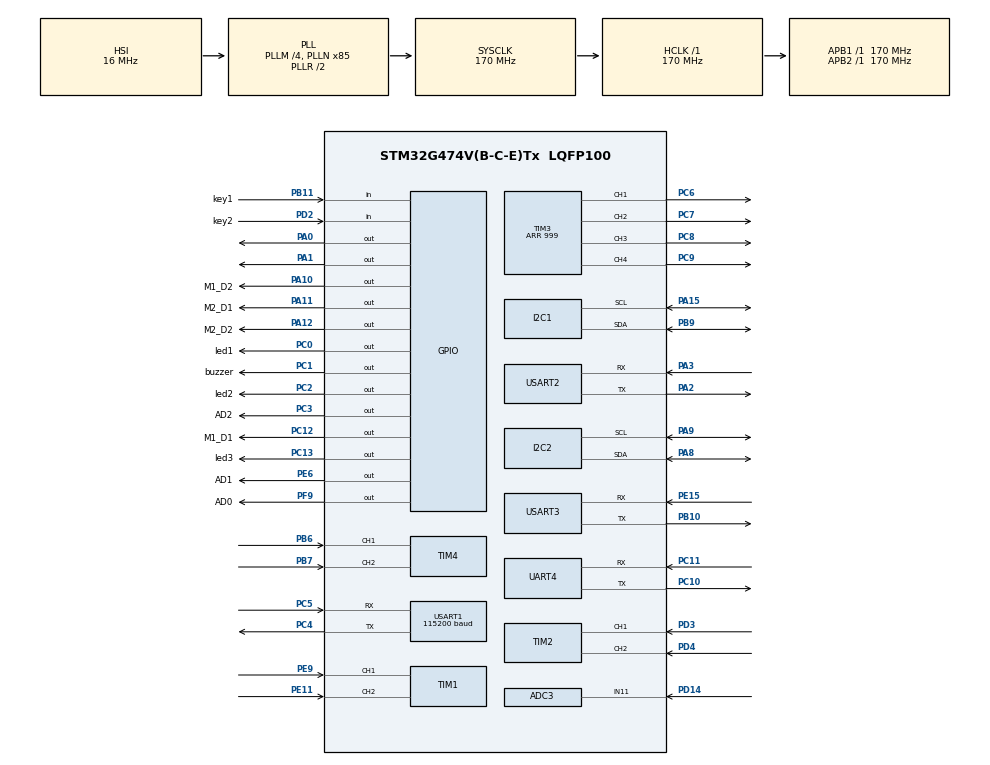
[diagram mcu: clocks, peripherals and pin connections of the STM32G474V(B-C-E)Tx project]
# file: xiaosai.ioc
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ADC3.Channel-1\#ChannelRegularConversion=ADC_CHANNEL_11
ADC3.NbrOfConversionFlag=1
ADC3.OffsetNumber-1\#ChannelRegularConversion=ADC_OFFSET_NONE
ADC3.Rank-1\#ChannelRegularConversion=1
ADC3.Resolution=ADC_RESOLUTION_8B
ADC3.SamplingTime-1\#ChannelRegularConversion=ADC_SAMPLETIME_2CYCLES_5
ADC3.master=1
Dma.Request0=USART1_RX
Dma.Request1=USART1_TX
Dma.Request2=USART3_RX
Dma.Request3=USART3_TX
Dma.Request4=UART4_RX
Dma.Request5=UART4_TX
Dma.Request6=USART2_RX
Dma.Request7=USART2_TX
Dma.UART4_RX.4.Direction=DMA_PERIPH_TO_MEMORY
Dma.UART4_RX.4.EventEnable=DISABLE
Dma.UART4_RX.4.Instance=DMA1_Channel7
Dma.UART4_RX.4.MemDataAlignment=DMA_MDATAALIGN_BYTE
Dma.UART4_RX.4.MemInc=DMA_MINC_ENABLE
Dma.UART4_RX.4.Mode=DMA_NORMAL
Dma.UART4_RX.4.PeriphDataAlignment=DMA_PDATAALIGN_BYTE
Dma.UART4_RX.4.PeriphInc=DMA_PINC_DISABLE
Dma.UART4_RX.4.Polarity=HAL_DMAMUX_REQ_GEN_RISING
Dma.UART4_RX.4.Priority=DMA_PRIORITY_LOW
Dma.UART4_RX.4.RequestNumber=1
Dma.UART4_RX.4.SignalID=NONE
Dma.UART4_RX.4.SyncEnable=DISABLE
Dma.UART4_RX.4.SyncPolarity=HAL_DMAMUX_SYNC_NO_EVENT
Dma.UART4_RX.4.SyncRequestNumber=1
Dma.UART4_RX.4.SyncSignalID=NONE
Dma.UART4_TX.5.Direction=DMA_MEMORY_TO_PERIPH
Dma.UART4_TX.5.EventEnable=DISABLE
Dma.UART4_TX.5.Instance=DMA1_Channel8
Dma.UART4_TX.5.MemDataAlignment=DMA_MDATAALIGN_BYTE
Dma.UART4_TX.5.MemInc=DMA_MINC_ENABLE
Dma.UART4_TX.5.Mode=DMA_NORMAL
Dma.UART4_TX.5.PeriphDataAlignment=DMA_PDATAALIGN_BYTE
Dma.UART4_TX.5.PeriphInc=DMA_PINC_DISABLE
Dma.UART4_TX.5.Polarity=HAL_DMAMUX_REQ_GEN_RISING
Dma.UART4_TX.5.Priority=DMA_PRIORITY_LOW
Dma.UART4_TX.5.RequestNumber=1
Dma.UART4_TX.5.SignalID=NONE
Dma.UART4_TX.5.SyncEnable=DISABLE
Dma.UART4_TX.5.SyncPolarity=HAL_DMAMUX_SYNC_NO_EVENT
Dma.UART4_TX.5.SyncRequestNumber=1
Dma.UART4_TX.5.SyncSignalID=NONE
Dma.USART1_RX.0.Direction=DMA_PERIPH_TO_MEMORY
Dma.USART1_RX.0.EventEnable=DISABLE
Dma.USART1_RX.0.Instance=DMA1_Channel1
Dma.USART1_RX.0.MemDataAlignment=DMA_MDATAALIGN_BYTE
Dma.USART1_RX.0.MemInc=DMA_MINC_ENABLE
Dma.USART1_RX.0.Mode=DMA_NORMAL
Dma.USART1_RX.0.PeriphDataAlignment=DMA_PDATAALIGN_BYTE
Dma.USART1_RX.0.PeriphInc=DMA_PINC_DISABLE
Dma.USART1_RX.0.Polarity=HAL_DMAMUX_REQ_GEN_RISING
Dma.USART1_RX.0.Priority=DMA_PRIORITY_LOW
Dma.USART1_RX.0.RequestNumber=1
Dma.USART1_RX.0.SignalID=NONE
Dma.USART1_RX.0.SyncEnable=DISABLE
Dma.USART1_RX.0.SyncPolarity=HAL_DMAMUX_SYNC_NO_EVENT
Dma.USART1_RX.0.SyncRequestNumber=1
Dma.USART1_RX.0.SyncSignalID=NONE
Dma.USART1_TX.1.Direction=DMA_MEMORY_TO_PERIPH
Dma.USART1_TX.1.EventEnable=DISABLE
Dma.USART1_TX.1.Instance=DMA1_Channel2
Dma.USART1_TX.1.MemDataAlignment=DMA_MDATAALIGN_BYTE
Dma.USART1_TX.1.MemInc=DMA_MINC_ENABLE
Dma.USART1_TX.1.Mode=DMA_NORMAL
Dma.USART1_TX.1.PeriphDataAlignment=DMA_PDATAALIGN_BYTE
Dma.USART1_TX.1.PeriphInc=DMA_PINC_DISABLE
Dma.USART1_TX.1.Polarity=HAL_DMAMUX_REQ_GEN_RISING
Dma.USART1_TX.1.Priority=DMA_PRIORITY_LOW
Dma.USART1_TX.1.RequestNumber=1
Dma.USART1_TX.1.SignalID=NONE
Dma.USART1_TX.1.SyncEnable=DISABLE
Dma.USART1_TX.1.SyncPolarity=HAL_DMAMUX_SYNC_NO_EVENT
Dma.USART1_TX.1.SyncRequestNumber=1
Dma.USART1_TX.1.SyncSignalID=NONE
Dma.USART2_RX.6.Direction=DMA_PERIPH_TO_MEMORY
Dma.USART2_RX.6.EventEnable=DISABLE
Dma.USART2_RX.6.Instance=DMA1_Channel3
Dma.USART2_RX.6.MemDataAlignment=DMA_MDATAALIGN_BYTE
Dma.USART2_RX.6.MemInc=DMA_MINC_ENABLE
Dma.USART2_RX.6.Mode=DMA_NORMAL
Dma.USART2_RX.6.PeriphDataAlignment=DMA_PDATAALIGN_BYTE
Dma.USART2_RX.6.PeriphInc=DMA_PINC_DISABLE
Dma.USART2_RX.6.Polarity=HAL_DMAMUX_REQ_GEN_RISING
Dma.USART2_RX.6.Priority=DMA_PRIORITY_LOW
Dma.USART2_RX.6.RequestNumber=1
Dma.USART2_RX.6.SignalID=NONE
Dma.USART2_RX.6.SyncEnable=DISABLE
Dma.USART2_RX.6.SyncPolarity=HAL_DMAMUX_SYNC_NO_EVENT
Dma.USART2_RX.6.SyncRequestNumber=1
Dma.USART2_RX.6.SyncSignalID=NONE
Dma.USART2_TX.7.Direction=DMA_MEMORY_TO_PERIPH
Dma.USART2_TX.7.EventEnable=DISABLE
Dma.USART2_TX.7.Instance=DMA1_Channel4
Dma.USART2_TX.7.MemDataAlignment=DMA_MDATAALIGN_BYTE
Dma.USART2_TX.7.MemInc=DMA_MINC_ENABLE
Dma.USART2_TX.7.Mode=DMA_NORMAL
Dma.USART2_TX.7.PeriphDataAlignment=DMA_PDATAALIGN_BYTE
Dma.USART2_TX.7.PeriphInc=DMA_PINC_DISABLE
Dma.USART2_TX.7.Polarity=HAL_DMAMUX_REQ_GEN_RISING
Dma.USART2_TX.7.Priority=DMA_PRIORITY_LOW
Dma.USART2_TX.7.RequestNumber=1
Dma.USART2_TX.7.SignalID=NONE
Dma.USART2_TX.7.SyncEnable=DISABLE
Dma.USART2_TX.7.SyncPolarity=HAL_DMAMUX_SYNC_NO_EVENT
Dma.USART2_TX.7.SyncRequestNumber=1
Dma.USART2_TX.7.SyncSignalID=NONE
Dma.USART3_RX.2.Direction=DMA_PERIPH_TO_MEMORY
Dma.USART3_RX.2.EventEnable=DISABLE
Dma.USART3_RX.2.Instance=DMA1_Channel5
Dma.USART3_RX.2.MemDataAlignment=DMA_MDATAALIGN_BYTE
Dma.USART3_RX.2.MemInc=DMA_MINC_ENABLE
Dma.USART3_RX.2.Mode=DMA_NORMAL
Dma.USART3_RX.2.PeriphDataAlignment=DMA_PDATAALIGN_BYTE
Dma.USART3_RX.2.PeriphInc=DMA_PINC_DISABLE
Dma.USART3_RX.2.Polarity=HAL_DMAMUX_REQ_GEN_RISING
Dma.USART3_RX.2.Priority=DMA_PRIORITY_LOW
Dma.USART3_RX.2.RequestNumber=1
Dma.USART3_RX.2.SignalID=NONE
Dma.USART3_RX.2.SyncEnable=DISABLE
Dma.USART3_RX.2.SyncPolarity=HAL_DMAMUX_SYNC_NO_EVENT
Dma.USART3_RX.2.SyncRequestNumber=1
Dma.USART3_RX.2.SyncSignalID=NONE
Dma.USART3_TX.3.Direction=DMA_MEMORY_TO_PERIPH
Dma.USART3_TX.3.EventEnable=DISABLE
Dma.USART3_TX.3.Instance=DMA1_Channel6
Dma.USART3_TX.3.MemDataAlignment=DMA_MDATAALIGN_BYTE
Dma.USART3_TX.3.MemInc=DMA_MINC_ENABLE
Dma.USART3_TX.3.Mode=DMA_NORMAL
Dma.USART3_TX.3.PeriphDataAlignment=DMA_PDATAALIGN_BYTE
Dma.USART3_TX.3.PeriphInc=DMA_PINC_DISABLE
Dma.USART3_TX.3.Polarity=HAL_DMAMUX_REQ_GEN_RISING
Dma.USART3_TX.3.Priority=DMA_PRIORITY_LOW
Dma.USART3_TX.3.RequestNumber=1
Dma.USART3_TX.3.SignalID=NONE
Dma.USART3_TX.3.SyncEnable=DISABLE
Dma.USART3_TX.3.SyncPolarity=HAL_DMAMUX_SYNC_NO_EVENT
Dma.USART3_TX.3.SyncRequestNumber=1
Dma.USART3_TX.3.SyncSignalID=NONE
I2C1.Timing=0x40B285C2
I2C2.Timing=0x40B285C2
Mcu.Family=STM32G4
Mcu.Name=STM32G474V(B-C-E)Tx
Mcu.Package=LQFP100
NVIC.DMA1_Channel1_IRQn=true\:0\:0\:false\:false\:true\:false\:true\:true
NVIC.DMA1_Channel2_IRQn=true\:0\:0\:false\:false\:true\:false\:true\:true
NVIC.DMA1_Channel3_IRQn=true\:0\:0\:false\:false\:true\:false\:true\:true
NVIC.DMA1_Channel4_IRQn=true\:0\:0\:false\:false\:true\:false\:true\:true
NVIC.DMA1_Channel5_IRQn=true\:0\:0\:false\:false\:true\:false\:true\:true
NVIC.DMA1_Channel6_IRQn=true\:0\:0\:false\:false\:true\:false\:true\:true
NVIC.DMA1_Channel7_IRQn=true\:0\:0\:false\:false\:true\:false\:true\:true
NVIC.DMA1_Channel8_IRQn=true\:0\:0\:false\:false\:true\:false\:true\:true
NVIC.PriorityGroup=NVIC_PRIORITYGROUP_4
NVIC.TIM7_DAC_IRQn=true\:0\:0\:true\:false\:true\:true\:true\:true
NVIC.USART1_IRQn=true\:0\:0\:false\:false\:true\:true\:true\:true
NVIC.USART3_IRQn=true\:0\:0\:false\:false\:true\:true\:true\:true
PA0.Signal=GPIO_Output
PA1.Signal=GPIO_Output
PA10.GPIO_Label=M1_D2
PA10.Signal=GPIO_Output
PA11.GPIO_Label=M2_D1
PA11.Signal=GPIO_Output
PA12.GPIO_Label=M2_D2
PA12.Signal=GPIO_Output
PA13.Mode=Serial_Wire
PA13.Signal=SYS_JTMS-SWDIO
PA14.Mode=Serial_Wire
PA14.Signal=SYS_JTCK-SWCLK
PA15.Mode=I2C
PA15.Signal=I2C1_SCL
PA2.Mode=Asynchronous
PA2.Signal=USART2_TX
PA3.Mode=Asynchronous
PA3.Signal=USART2_RX
PA8.Mode=I2C
PA8.Signal=I2C2_SDA
PA9.Mode=I2C
PA9.Signal=I2C2_SCL
PB10.Mode=Asynchronous
PB10.Signal=USART3_TX
PB11.GPIO_Label=key1
PB11.GPIO_PuPd=GPIO_PULLUP
PB11.Signal=GPIO_Input
PB6.Signal=S_TIM4_CH1
PB7.Signal=S_TIM4_CH2
PB9.Mode=I2C
PB9.Signal=I2C1_SDA
PC0.GPIO_Label=led1
PC0.Signal=GPIO_Output
PC1.GPIO_Label=buzzer
PC1.Signal=GPIO_Output
PC10.Mode=Asynchronous
PC10.Signal=UART4_TX
PC11.Mode=Asynchronous
PC11.Signal=UART4_RX
PC12.GPIO_Label=M1_D1
PC12.Signal=GPIO_Output
PC13.GPIO_Label=led3
PC13.Signal=GPIO_Output
PC2.GPIO_Label=led2
PC2.Signal=GPIO_Output
PC3.GPIO_Label=AD2
PC3.Signal=GPIO_Output
PC4.Mode=Asynchronous
PC4.Signal=USART1_TX
PC5.Mode=Asynchronous
PC5.Signal=USART1_RX
PC6.Signal=S_TIM3_CH1
PC7.Signal=S_TIM3_CH2
PC8.Signal=S_TIM3_CH3
PC9.Signal=S_TIM3_CH4
PD14.Mode=IN11-Single-Ended
PD14.Signal=ADC3_IN11
PD2.GPIO_Label=key2
PD2.GPIO_PuPd=GPIO_PULLUP
PD2.Signal=GPIO_Input
PD3.Signal=S_TIM2_CH1
PD4.Signal=S_TIM2_CH2
PE11.Signal=S_TIM1_CH2
PE15.Mode=Asynchronous
PE15.Signal=USART3_RX
PE6.GPIO_Label=AD1
PE6.Signal=GPIO_Output
PE9.Signal=S_TIM1_CH1
PF0-OSC_IN.Mode=HSE-External-Oscillator
PF0-OSC_IN.Signal=RCC_OSC_IN
PF1-OSC_OUT.Mode=HSE-External-Oscillator
PF1-OSC_OUT.Signal=RCC_OSC_OUT
PF9.GPIO_Label=AD0
PF9.Signal=GPIO_Output
ProjectManager.HeapSize=0x200
ProjectManager.StackSize=0x400
ProjectManager.TargetToolchain=CMake
RCC.ADC12Freq_Value=170000000
RCC.ADC345Freq_Value=170000000
RCC.AHBFreq_Value=170000000
RCC.APB1Freq_Value=170000000
RCC.APB1TimFreq_Value=170000000
RCC.APB2Freq_Value=170000000
RCC.APB2TimFreq_Value=170000000
RCC.CortexFreq_Value=170000000
RCC.EXTERNAL_CLOCK_VALUE=12288000
RCC.HCLKFreq_Value=170000000
RCC.HSE_VALUE=8000000
RCC.HSI48_VALUE=48000000
RCC.HSI_VALUE=16000000
RCC.LSE_VALUE=32768
RCC.PLLM=RCC_PLLM_DIV4
RCC.PLLN=85
RCC.SYSCLKFreq_VALUE=170000000
RCC.SYSCLKSource=RCC_SYSCLKSOURCE_PLLCLK
RCC.USBFreq_Value=170000000
RCC.VCOOutputFreq_Value=340000000
SH.S_TIM1_CH1.0=TIM1_CH1,Encoder_Interface
SH.S_TIM1_CH2.0=TIM1_CH2,Encoder_Interface
SH.S_TIM2_CH1.0=TIM2_CH1,Encoder_Interface
SH.S_TIM2_CH2.0=TIM2_CH2,Encoder_Interface
SH.S_TIM3_CH1.0=TIM3_CH1,PWM Generation1 CH1
SH.S_TIM3_CH2.0=TIM3_CH2,PWM Generation2 CH2
SH.S_TIM3_CH3.0=TIM3_CH3,PWM Generation3 CH3
SH.S_TIM3_CH4.0=TIM3_CH4,PWM Generation4 CH4
SH.S_TIM4_CH1.0=TIM4_CH1,Encoder_Interface
SH.S_TIM4_CH2.0=TIM4_CH2,Encoder_Interface
TIM3.AutoReloadPreload=TIM_AUTORELOAD_PRELOAD_ENABLE
TIM3.Channel-PWM\ Generation1\ CH1=TIM_CHANNEL_1
TIM3.Channel-PWM\ Generation2\ CH2=TIM_CHANNEL_2
TIM3.Channel-PWM\ Generation3\ CH3=TIM_CHANNEL_3
TIM3.Channel-PWM\ Generation4\ CH4=TIM_CHANNEL_4
TIM3.PeriodNoDither=999
TIM7.AutoReloadPreload=TIM_AUTORELOAD_PRELOAD_ENABLE
TIM7.PeriodNoDither=1000-1
TIM7.Prescaler=170-1
USART1.BaudRate=115200
USART1.VirtualMode-Asynchronous=VM_ASYNC
USART2.VirtualMode-Asynchronous=VM_ASYNC
USART3.VirtualMode-Asynchronous=VM_ASYNC
VP_SYS_VS_DBSignals.Mode=DisableDeadBatterySignals
VP_TIM3_VS_ClockSourceINT.Mode=Internal
VP_TIM7_VS_ClockSourceINT.Mode=Enable_Timer
board=custom

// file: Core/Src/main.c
/* USER CODE BEGIN Header */
/**
  ******************************************************************************
  * @file           : main.c
  * @brief          : Main program body
  ******************************************************************************
  * @attention
  *
  * Copyright (c) 2026 STMicroelectronics.
  * All rights reserved.
  *
  * This software is licensed under terms that can be found in the LICENSE file
  * in the root directory of this software component.
  * If no LICENSE file comes with this software, it is provided AS-IS.
  *
  ******************************************************************************
  */
/* USER CODE END Header */
#include "main.h"
#include "adc.h"
#include "dma.h"
#include "i2c.h"
#include "tim.h"
#include "usart.h"
#include "gpio.h"

/* USER CODE BEGIN Includes */
#include <stdio.h>

#include "status.h"
#include "pid.h"
#include "log.h"
#include "uart_it.h"
/* USER CODE END Includes */

void SystemClock_Config(void);

int main(void)
{

  /* MCU Configuration--------------------------------------------------------*/

  /* Reset of all peripherals, Initializes the Flash interface and the Systick. */
  HAL_Init();

  /* Configure the system clock */
  SystemClock_Config();

  /* Initialize all configured peripherals */
  MX_GPIO_Init();
  MX_DMA_Init();
  MX_ADC3_Init();
  MX_I2C1_Init();
  MX_I2C2_Init();
  MX_TIM1_Init();
  MX_TIM2_Init();
  MX_TIM3_Init();
  MX_UART4_Init();
  MX_USART1_UART_Init();
  MX_USART2_UART_Init();
  MX_USART3_UART_Init();
  MX_TIM7_Init();
  MX_TIM4_Init();
  /* USER CODE BEGIN 2 */
  init_status(&status,1);
  set_pid(&status.sensor.gw_analogue.gw_analogue_pid, 0.05,0,1);
  //set_pid(&status.sensor.gw_analogue.gw_analogue_pid, 0.4,0,0.25);
  set_pid(&status.motor.wheel[0].wheel_pid, 0.7,0.1,0.15);
  set_pid(&status.motor.wheel[1].wheel_pid, 0.7,0.1,0.15);
  HAL_TIM_Base_Start_IT(&htim7);
  //mode=0;
  char a[10];
  sprintf(a,"hello\n");
  set_gyr_angle_reference(&hi2c1);
  /* USER CODE END 2 */

  /* Infinite loop */
  /* USER CODE BEGIN WHILE */
  while (1)
  {

      log_uprintf(&huart1,"%d,%d\n",status.motor.wheel[0].cur_speed,status.motor.wheel[1].cur_speed);
      //log_uprintf(&huart1,"hello\n");
      //HAL_UART_Transmit(&huart1,(uint8_t *)a,sizeof(a),100);
      HAL_Delay(100);

    //log_uprintf(&huart1,"%.2f,%.2f,%.2f,%.2f,%.2f,%.2f,%.2f,%.2f",status.sensor.gw_analogue.channel[0],status.sensor.gw_analogue.channel[1],status.sensor.gw_analogue.channel[2],status.sensor.gw_analogue.channel[3],status.sensor.gw_analogue.channel[4],status.sensor.gw_analogue.channel[5],status.sensor.gw_analogue.channel[6],status.sensor.gw_analogue.channel[7]);
    //log_uprintf(&huart1,"%.2f,%.2f,%d,%d,%d,%d\n",get_gyr_value(&status.sensor.gyr,gyr_z_yaw),status.sensor.gw_analogue.diff,status.motor.wheel[0].cur_speed,status.motor.wheel[1].cur_speed,status.motor.wheel[0].tar_speed,status.motor.wheel[1].tar_speed);
    // if (status.sensor.gw_analogue.cross.cross != Straight)
    // {
    //   switch (status.sensor.gw_analogue.cross.cross)
    //   {
    //     case CrossRoad:
    //       log_uprintf(&huart1,"CrossRoad");
    //       break;
    //     case LeftRoad:
    //       log_uprintf(&huart1,"LeftRoad");
    //       break;
    //     case RightRoad:
    //       log_uprintf(&huart1,"RightRoad");
    //       break;
    //     //case CrossRoad:
    //       //log_uprintf(&huart1,"CrossRoad");
    //       //break;
    //     //case CrossRoad:
    //     default:
    //       break;
    //   }

    // }
    //log_uprintf(&huart1,"hello\n");
    /* USER CODE END WHILE */

    }
}

void SystemClock_Config(void)
{
  RCC_OscInitTypeDef RCC_OscInitStruct = {0};
  RCC_ClkInitTypeDef RCC_ClkInitStruct = {0};

  /** Configure the main internal regulator output voltage
  */
  HAL_PWREx_ControlVoltageScaling(PWR_REGULATOR_VOLTAGE_SCALE1_BOOST);

  /** Initializes the RCC Oscillators according to the specified parameters
  * in the RCC_OscInitTypeDef structure.
  */
  RCC_OscInitStruct.OscillatorType = RCC_OSCILLATORTYPE_HSI;
  RCC_OscInitStruct.HSIState = RCC_HSI_ON;
  RCC_OscInitStruct.HSICalibrationValue = RCC_HSICALIBRATION_DEFAULT;
  RCC_OscInitStruct.PLL.PLLState = RCC_PLL_ON;
  RCC_OscInitStruct.PLL.PLLSource = RCC_PLLSOURCE_HSI;
  RCC_OscInitStruct.PLL.PLLM = RCC_PLLM_DIV4;
  RCC_OscInitStruct.PLL.PLLN = 85;
  RCC_OscInitStruct.PLL.PLLP = RCC_PLLP_DIV2;
  RCC_OscInitStruct.PLL.PLLQ = RCC_PLLQ_DIV2;
  RCC_OscInitStruct.PLL.PLLR = RCC_PLLR_DIV2;
  if (HAL_RCC_OscConfig(&RCC_OscInitStruct) != HAL_OK)
  {
    Error_Handler();
  }

  /** Initializes the CPU, AHB and APB buses clocks
  */
  RCC_ClkInitStruct.ClockType = RCC_CLOCKTYPE_HCLK|RCC_CLOCKTYPE_SYSCLK
                              |RCC_CLOCKTYPE_PCLK1|RCC_CLOCKTYPE_PCLK2;
  RCC_ClkInitStruct.SYSCLKSource = RCC_SYSCLKSOURCE_PLLCLK;
  RCC_ClkInitStruct.AHBCLKDivider = RCC_SYSCLK_DIV1;
  RCC_ClkInitStruct.APB1CLKDivider = RCC_HCLK_DIV1;
  RCC_ClkInitStruct.APB2CLKDivider = RCC_HCLK_DIV1;

  if (HAL_RCC_ClockConfig(&RCC_ClkInitStruct, FLASH_LATENCY_4) != HAL_OK)
  {
    Error_Handler();
  }
}

void Error_Handler(void)
{
  __disable_irq();
  while (1)
  {
  }
}
